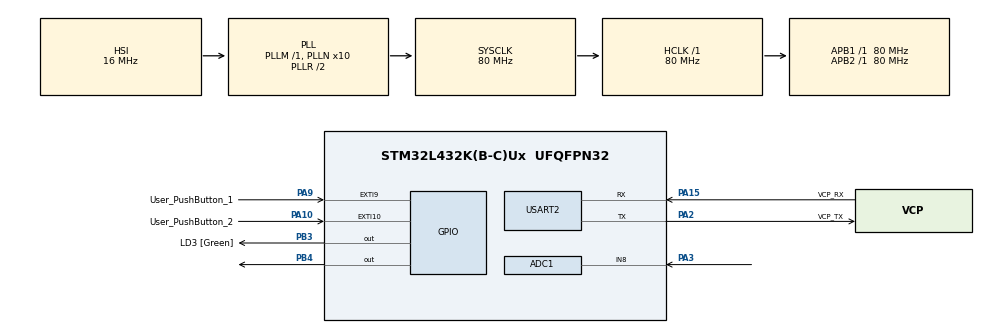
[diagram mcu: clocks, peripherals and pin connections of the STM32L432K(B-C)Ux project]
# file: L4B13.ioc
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ADC1.Channel-1\#ChannelRegularConversion=ADC_CHANNEL_8
ADC1.ClockPrescaler=ADC_CLOCK_ASYNC_DIV32
ADC1.ContinuousConvMode=ENABLE
ADC1.EOCSelection=ADC_EOC_SINGLE_CONV
ADC1.EnableRegularConversion=ENABLE
ADC1.ExternalTrigConv=ADC_EXTERNALTRIG_T15_TRGO
ADC1.NbrOfConversion=1
ADC1.NbrOfConversionFlag=1
ADC1.OffsetNumber-1\#ChannelRegularConversion=ADC_OFFSET_NONE
ADC1.Rank-1\#ChannelRegularConversion=1
ADC1.SamplingTime-1\#ChannelRegularConversion=ADC_SAMPLETIME_2CYCLES_5
ADC1.master=1
Dma.ADC1.0.Direction=DMA_PERIPH_TO_MEMORY
Dma.ADC1.0.Instance=DMA1_Channel1
Dma.ADC1.0.MemDataAlignment=DMA_MDATAALIGN_HALFWORD
Dma.ADC1.0.MemInc=DMA_MINC_ENABLE
Dma.ADC1.0.Mode=DMA_NORMAL
Dma.ADC1.0.PeriphDataAlignment=DMA_PDATAALIGN_HALFWORD
Dma.ADC1.0.PeriphInc=DMA_PINC_DISABLE
Dma.ADC1.0.Priority=DMA_PRIORITY_LOW
Dma.Request0=ADC1
Mcu.Family=STM32L4
Mcu.Name=STM32L432K(B-C)Ux
Mcu.Package=UFQFPN32
NVIC.DMA1_Channel1_IRQn=true\:0\:0\:false\:false\:true\:false\:true\:true
NVIC.EXTI15_10_IRQn=true\:1\:0\:true\:false\:true\:true\:true\:true
NVIC.EXTI9_5_IRQn=true\:1\:0\:true\:false\:true\:true\:true\:true
NVIC.PriorityGroup=NVIC_PRIORITYGROUP_4
NVIC.TIM1_BRK_TIM15_IRQn=true\:0\:0\:false\:false\:true\:true\:true\:true
NVIC.TIM2_IRQn=true\:1\:0\:true\:false\:true\:true\:true\:true
PA0.GPIO_Label=MCO [High speed clock in]
PA0.Mode=HSE-External-Clock-Source-for-LittleOrca
PA0.Signal=RCC_CK_IN
PA10.GPIO_Label=User_PushButton_2
PA10.GPIO_PuPd=GPIO_PULLUP
PA10.Signal=GPXTI10
PA13\ (JTMS-SWDIO).GPIO_Label=SWDIO
PA13\ (JTMS-SWDIO).Mode=Serial_Wire
PA13\ (JTMS-SWDIO).Signal=SYS_JTMS-SWDIO
PA14\ (JTCK-SWCLK).GPIO_Label=SWCLK
PA14\ (JTCK-SWCLK).Mode=Serial_Wire
PA14\ (JTCK-SWCLK).Signal=SYS_JTCK-SWCLK
PA15\ (JTDI).GPIO_Label=VCP_RX
PA15\ (JTDI).Mode=Asynchronous
PA15\ (JTDI).Signal=USART2_RX
PA2.GPIO_Label=VCP_TX
PA2.Mode=Asynchronous
PA2.Signal=USART2_TX
PA3.Signal=ADCx_IN8
PA9.GPIO_Label=User_PushButton_1
PA9.GPIO_PuPd=GPIO_PULLUP
PA9.Signal=GPXTI9
PB3\ (JTDO-TRACESWO).GPIO_Label=LD3 [Green]
PB3\ (JTDO-TRACESWO).Signal=GPIO_Output
PB4\ (NJTRST).Signal=GPIO_Output
PC14-OSC32_IN\ (PC14).Mode=LSE-External-Oscillator
PC14-OSC32_IN\ (PC14).Signal=RCC_OSC32_IN
PC15-OSC32_OUT\ (PC15).Mode=LSE-External-Oscillator
PC15-OSC32_OUT\ (PC15).Signal=RCC_OSC32_OUT
ProjectManager.HeapSize=0x200
ProjectManager.StackSize=0x400
ProjectManager.TargetToolchain=Makefile
RCC.ADCFreq_Value=64000000
RCC.AHBFreq_Value=80000000
RCC.APB1Freq_Value=80000000
RCC.APB1TimFreq_Value=80000000
RCC.APB2Freq_Value=80000000
RCC.APB2TimFreq_Value=80000000
RCC.CortexFreq_Value=80000000
RCC.HCLKFreq_Value=80000000
RCC.HSE_VALUE=8000000
RCC.HSI16_VALUE=16000000
RCC.HSI48_VALUE=48000000
RCC.HSI_VALUE=16000000
RCC.MSI_VALUE=4000000
RCC.PLLMUL=RCC_PLLMUL_4
RCC.PLLN=10
RCC.PLLSourceVirtual=RCC_PLLSOURCE_HSI
RCC.SYSCLKFreq_VALUE=80000000
RCC.SYSCLKSource=RCC_SYSCLKSOURCE_PLLCLK
RCC.USBFreq_Value=64000000
RCC.VCOOutputFreq_Value=160000000
SH.ADCx_IN8.0=ADC1_IN8,IN8-Single-Ended
TIM15.TIM_MasterOutputTrigger=TIM_TRGO_UPDATE
TIM2.ClockDivision=TIM_CLOCKDIVISION_DIV1
TIM2.Period=80000
TIM2.Prescaler=100
TIM2.TIM_MasterOutputTrigger=TIM_TRGO_UPDATE
USART2.VirtualMode-Asynchronous=VM_ASYNC
VP_TIM15_VS_ClockSourceINT.Mode=Internal
VP_TIM2_VS_ClockSourceINT.Mode=Internal
board=NUCLEO-L432KC

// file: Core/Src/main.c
/* USER CODE BEGIN Header */
/**
  ******************************************************************************
  * @file           : main.c
  * @brief          : Main program body
  ******************************************************************************
  * @attention
  *
  * Copyright (c) 2023 STMicroelectronics.
  * All rights reserved.
  *
  * This software is licensed under terms that can be found in the LICENSE file
  * in the root directory of this software component.
  * If no LICENSE file comes with this software, it is provided AS-IS.
  *
  ******************************************************************************
  */
/* USER CODE END Header */
#include "main.h"
#include "adc.h"
#include "dma.h"
#include "tim.h"
#include "usart.h"
#include "gpio.h"

/* USER CODE BEGIN Includes */
#include <stdio.h>
/* USER CODE END Includes */

/* USER CODE BEGIN PD */
#define myDMA_buffer_length 4096
/* USER CODE END PD */

/* USER CODE BEGIN PV */
volatile uint8_t debounce1 = 0;
volatile uint8_t debounce2 = 0;
volatile uint8_t btn1_flg = 0;
volatile uint8_t btn2_flg = 0;
volatile uint32_t Blink_delay = 0;
volatile uint8_t chars_read = 0;
char btn1_txt[255];
volatile uint16_t adc_buffer_1[myDMA_buffer_length/2] = {0};
volatile uint16_t adc_buffer_2[myDMA_buffer_length/2] = {0};
volatile uint8_t read_to_buf_1 = 0;
volatile uint8_t read_to_buf_2 = 1;

/* USER CODE END PV */

void SystemClock_Config(void);

int main(void)
{

  /* MCU Configuration--------------------------------------------------------*/

  /* Reset of all peripherals, Initializes the Flash interface and the Systick. */
  HAL_Init();

  /* Configure the system clock */
  SystemClock_Config();

  /* Initialize all configured peripherals */
  MX_GPIO_Init();
  MX_DMA_Init();
  MX_USART2_UART_Init();
  MX_TIM2_Init();
  MX_ADC1_Init();
  MX_TIM15_Init();
  /* USER CODE BEGIN 2 */
  HAL_TIM_OC_Start_IT(&htim15,TIM_CHANNEL_2);

  if ((HAL_ADC_Start_DMA(&hadc1,(uint32_t *)adc_buffer_1,myDMA_buffer_length/2)) != HAL_OK)
  {
    Error_Handler();
  }

  /* USER CODE END 2 */

  /* Infinite loop */
  /* USER CODE BEGIN WHILE */
  while (1)
  {
    if(Blink_delay == 0)
    {
      HAL_GPIO_WritePin(GPIOB,GPIO_PIN_4,RESET);
    }
    else
    {
      HAL_GPIO_TogglePin(GPIOB,GPIO_PIN_4);
      HAL_Delay(Blink_delay);
    }
    /* USER CODE END WHILE */

  }
}

void SystemClock_Config(void)
{
  RCC_OscInitTypeDef RCC_OscInitStruct = {0};
  RCC_ClkInitTypeDef RCC_ClkInitStruct = {0};

  /** Configure the main internal regulator output voltage
  */
  if (HAL_PWREx_ControlVoltageScaling(PWR_REGULATOR_VOLTAGE_SCALE1) != HAL_OK)
  {
    Error_Handler();
  }

  /** Initializes the RCC Oscillators according to the specified parameters
  * in the RCC_OscInitTypeDef structure.
  */
  RCC_OscInitStruct.OscillatorType = RCC_OSCILLATORTYPE_HSI;
  RCC_OscInitStruct.HSIState = RCC_HSI_ON;
  RCC_OscInitStruct.HSICalibrationValue = RCC_HSICALIBRATION_DEFAULT;
  RCC_OscInitStruct.PLL.PLLState = RCC_PLL_ON;
  RCC_OscInitStruct.PLL.PLLSource = RCC_PLLSOURCE_HSI;
  RCC_OscInitStruct.PLL.PLLM = 1;
  RCC_OscInitStruct.PLL.PLLN = 10;
  RCC_OscInitStruct.PLL.PLLP = RCC_PLLP_DIV7;
  RCC_OscInitStruct.PLL.PLLQ = RCC_PLLQ_DIV2;
  RCC_OscInitStruct.PLL.PLLR = RCC_PLLR_DIV2;
  if (HAL_RCC_OscConfig(&RCC_OscInitStruct) != HAL_OK)
  {
    Error_Handler();
  }

  /** Initializes the CPU, AHB and APB buses clocks
  */
  RCC_ClkInitStruct.ClockType = RCC_CLOCKTYPE_HCLK|RCC_CLOCKTYPE_SYSCLK
                              |RCC_CLOCKTYPE_PCLK1|RCC_CLOCKTYPE_PCLK2;
  RCC_ClkInitStruct.SYSCLKSource = RCC_SYSCLKSOURCE_PLLCLK;
  RCC_ClkInitStruct.AHBCLKDivider = RCC_SYSCLK_DIV1;
  RCC_ClkInitStruct.APB1CLKDivider = RCC_HCLK_DIV1;
  RCC_ClkInitStruct.APB2CLKDivider = RCC_HCLK_DIV1;

  if (HAL_RCC_ClockConfig(&RCC_ClkInitStruct, FLASH_LATENCY_4) != HAL_OK)
  {
    Error_Handler();
  }
}

/* USER CODE BEGIN 4 */

void HAL_GPIO_EXTI_Callback(uint16_t GPIO_Pin)
{

  //DEBOUNCE BTN1///////
  if(GPIO_Pin == GPIO_PIN_9)
  {
    if(debounce1 == 0)
    {
      btn1_flg = 1;
      debounce1 = 2;
      //Enablar 100 ms debounce
      HAL_TIM_OC_Start_IT(&htim2,TIM_CHANNEL_4);
    }

  }
   //////////////////////////

   //////// DEBOUNCE BTN2/////////////
  else if(GPIO_Pin == GPIO_PIN_10)
  {
    if(debounce2 == 0)
    {
      btn2_flg = 1;
      debounce2 = 2;
      //Enablar 100 ms debounce
      HAL_TIM_OC_Start_IT(&htim2,TIM_CHANNEL_4);
    }

  }
}

void HAL_TIM_OC_DelayElapsedCallback(TIM_HandleTypeDef *htim)
{
  //////////////DEBOUNCE TIMER/////////////TIMER2////////
  if(htim == &htim2)
  {
    //KNAPP 1 DEBOUNCE OCH SNABBARE BLINK////
    if(btn1_flg)
    {
      debounce1--;
      if(debounce1 == 0)
      { //Stäng av debounce
        btn1_flg = 0;
        HAL_TIM_OC_Stop_IT(&htim2,TIM_CHANNEL_4);

       if(Blink_delay <= 75)
       {
          /////Slå av
          Blink_delay = 0;
          chars_read = sprintf(btn1_txt, " User_PushButton-1 was pressed! Current Blink_Delay =%d ",Blink_delay);
          HAL_UART_Transmit(&huart2,btn1_txt,chars_read,HAL_MAX_DELAY);
        }
        //Öka delay
        else
        {
          ////250 ~= 75 ms toggle speed
          Blink_delay -= 75;
          chars_read = sprintf(btn1_txt, " User_PushButton-1 was pressed! Current Blink_Delay =%d ",Blink_delay);
          HAL_UART_Transmit(&huart2,btn1_txt,chars_read,HAL_MAX_DELAY);
        }
      }
    }
    //KNAPP 2 DEBOUNCE OCH Långsammare BLINK////
    else if(btn2_flg)
    {
      debounce2--;
      if(debounce2 == 0)
      { //Stäng av debounce
        btn2_flg = 0;
        HAL_TIM_OC_Stop_IT(&htim2,TIM_CHANNEL_4);
        Blink_delay += 75;
        chars_read = sprintf(btn1_txt, " User_PushButton-2 was pressed! Current Blink_Delay =%d ",Blink_delay);
        HAL_UART_Transmit(&huart2,btn1_txt,chars_read,HAL_MAX_DELAY);
      }
    }
  }
  //TIMER 15 för adc
  if (htim == &htim15)
  {

  }
}

void HAL_ADC_ConvCpltCallback(ADC_HandleTypeDef *hdac)
{
  if(read_to_buf_1)
  {
    read_to_buf_1 = 0;
    read_to_buf_2 = 1;
    printf("test1");
    HAL_ADC_Start_DMA(&hadc1,(uint32_t *)adc_buffer_1,myDMA_buffer_length/2);
  }

  if(read_to_buf_2)
  {
    read_to_buf_2 = 0;
    read_to_buf_1 = 1;
     printf("test2");
    HAL_ADC_Start_DMA(&hadc1,(uint32_t *)adc_buffer_2,myDMA_buffer_length/2);
  }

}
/* USER CODE END 4 */

void Error_Handler(void)
{
  __disable_irq();
  while (1)
  {
  }
}
